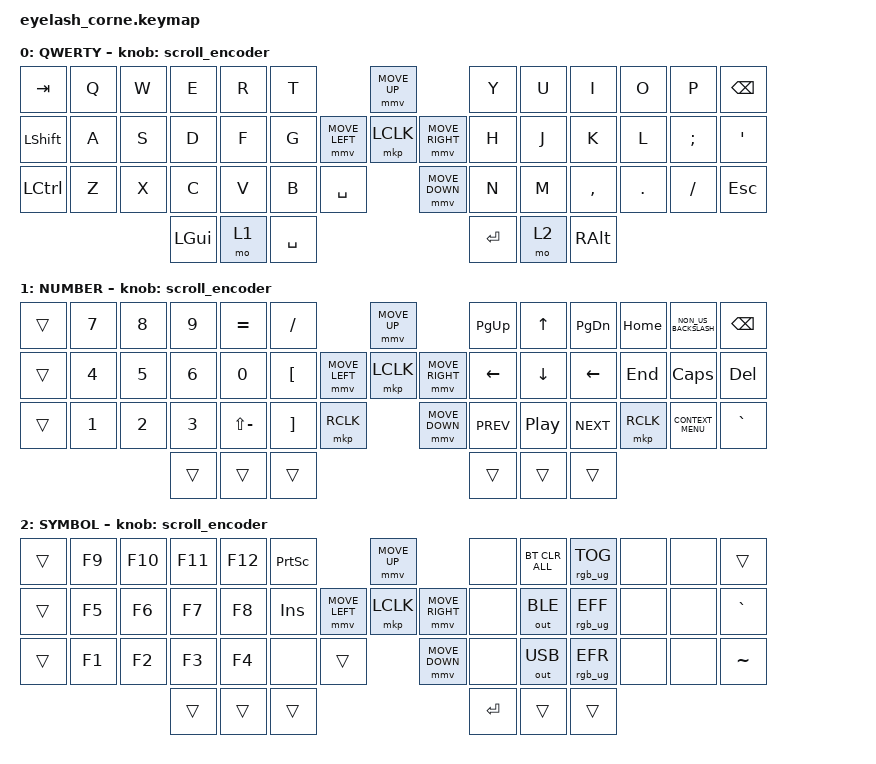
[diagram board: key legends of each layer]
#define ZMK_POINTING_DEFAULT_MOVE_VAL 1200  // 600
#define ZMK_POINTING_DEFAULT_SCRL_VAL 25   // 10

#include <input/processors.dtsi>
#include <zephyr/dt-bindings/input/input-event-codes.h>
#include <behaviors.dtsi>
#include <dt-bindings/zmk/bt.h>
#include <dt-bindings/zmk/keys.h>
#include <dt-bindings/zmk/outputs.h>
#include <dt-bindings/zmk/pointing.h>
#include <dt-bindings/zmk/rgb.h>

&mmv_input_listener { input-processors = <&zip_xy_scaler 2 1>; };

&msc_input_listener { input-processors = <&zip_scroll_scaler 2 1>; };

&msc {
    acceleration-exponent = <1>;      // 0
    time-to-max-speed-ms = <100>;       // 300
    delay-ms = <0>;                   // 0
};

&mmv {
    time-to-max-speed-ms = <500>;
    acceleration-exponent = <1>;
    trigger-period-ms = <16>;
};

&soft_off { hold-time-ms = <2000>; };

/ {
    behaviors {
        td0: td0 {
            compatible = "zmk,behavior-tap-dance";
            display-name = "Shift/Caps Lock Tap Dance";
            #binding-cells = <0>;
            bindings = <&kp LEFT_SHIFT>, <&kp CAPS>;
        };
    };

    rgb_encoder: rgb_encoder {
        compatible = "zmk,behavior-sensor-rotate";
        #sensor-binding-cells = <0>;
        bindings = <&rgb_ug RGB_BRI>, <&rgb_ug RGB_BRD>;
    };

    scroll_encoder: scroll_encoder {
        compatible = "zmk,behavior-sensor-rotate";
        #sensor-binding-cells = <0>;
        bindings = <&msc SCRL_DOWN>, <&msc SCRL_UP>;

        tap-ms = <100>;
    };

    combos {
        compatible = "zmk,combos";

        softoff {
            bindings = <&soft_off>;
            key-positions = <1 15 29>;
        };
    };

    keymap {
        compatible = "zmk,keymap";

        default_layer {
            display-name = "QWERTY";
            bindings = <
&kp TAB         &kp Q  &kp W  &kp E     &kp R  &kp T                                   &mmv MOVE_UP                     &kp Y      &kp U  &kp I      &kp O    &kp P     &kp BSPC
&kp LEFT_SHIFT  &kp A  &kp S  &kp D     &kp F  &kp G                   &mmv MOVE_LEFT  &mkp LCLK       &mmv MOVE_RIGHT  &kp H      &kp J  &kp K      &kp L    &kp SEMI  &kp SQT
&kp LCTRL       &kp Z  &kp X  &kp C     &kp V  &kp B      &kp SPACE                    &mmv MOVE_DOWN                   &kp N      &kp M  &kp COMMA  &kp DOT  &kp FSLH  &kp ESC
                              &kp LGUI  &mo 1  &kp SPACE                                                                &kp ENTER  &mo 2  &kp RALT
            >;

            sensor-bindings = <&scroll_encoder>;
        };

        lower_layer {
            display-name = "NUMBER";
            bindings = <
&trans  &kp N7        &kp N8        &kp N9        &kp EQUAL      &kp SLASH                                       &mmv MOVE_UP                     &kp PAGE_UP  &kp UP_ARROW      &kp PAGE_DOWN   &kp HOME   &kp NON_US_BACKSLASH  &kp BSPC
&trans  &kp NUMBER_4  &kp N5        &kp NUMBER_6  &kp N0         &kp LEFT_BRACKET                &mmv MOVE_LEFT  &mkp LCLK       &mmv MOVE_RIGHT  &kp LEFT     &kp DOWN          &kp LEFT_ARROW  &kp END    &kp CLCK              &kp DEL
&trans  &kp NUMBER_1  &kp NUMBER_2  &kp NUMBER_3  &kp LS(MINUS)  &kp RIGHT_BRACKET  &mkp RCLK                    &mmv MOVE_DOWN                   &kp C_PREV   &kp C_PLAY_PAUSE  &kp C_NEXT      &mkp RCLK  &kp K_CONTEXT_MENU    &kp GRAVE
                                    &trans        &trans         &trans                                                                           &trans       &trans            &trans
            >;

            sensor-bindings = <&scroll_encoder>;
        };

        raise_layer {
            display-name = "SYMBOL";
            bindings = <
&trans  &kp F9  &kp F10  &kp F11  &kp F12  &kp PRINTSCREEN                            &mmv MOVE_UP                     &none    &bt BT_CLR_ALL  &rgb_ug RGB_TOG  &none  &none  &trans
&trans  &kp F5  &kp F6   &kp F7   &kp F8   &kp INS                    &mmv MOVE_LEFT  &mkp LCLK       &mmv MOVE_RIGHT  &none    &out OUT_BLE    &rgb_ug RGB_EFF  &none  &none  &kp GRAVE
&trans  &kp F1  &kp F2   &kp F3   &kp F4   &none            &trans                    &mmv MOVE_DOWN                   &none    &out OUT_USB    &rgb_ug RGB_EFR  &none  &none  &kp TILDE
                         &trans   &trans   &trans                                                                      &kp RET  &trans          &trans
            >;

            sensor-bindings = <&scroll_encoder>;
        };
    };
};
